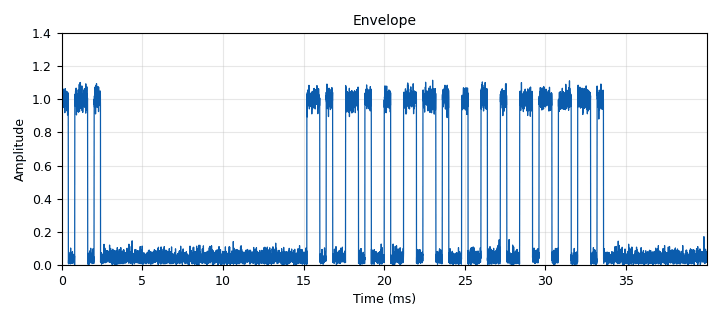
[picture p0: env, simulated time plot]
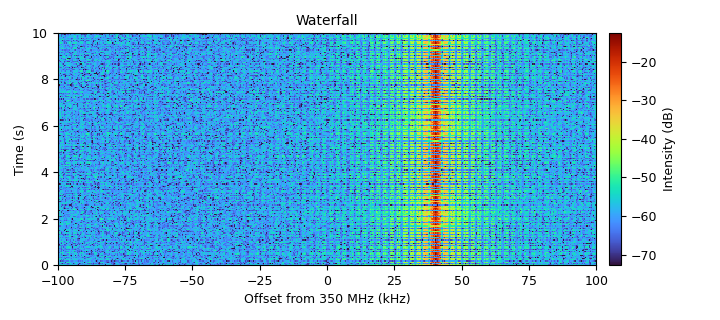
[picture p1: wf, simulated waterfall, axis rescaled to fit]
options:
  parameters:
    author: ECE 448
    description: 'L17: the encoder for the Simulated fan remote: a button chooser, 3-chip PWM, the gap, and a carrier 40 kHz above 350 MHz, with noise. Records my-fan-remote.sigmf-data and .sigmf-meta. No hardware; transmits nothing.'
    generate_options: qt_gui
    id: L17_fan_tx_sim
    output_language: python
    title: L17 - Fan Remote Encoder (Simulation)
  states: {}

blocks:
- name: addr
  id: variable
  parameters:
    value: '0xA6'
  states: {}
- name: bits
  id: variable
  parameters:
    value: '[(word >> (15 - i)) & 1 for i in range(16)]'
  states: {}
- name: button
  id: variable_qtgui_chooser
  parameters:
    gui_hint: 0,0,1,2
    label: Button
    label0: Light
    label1: Fan Off
    label2: Low
    label3: Medium
    label4: High
    num_opts: '5'
    option0: '1'
    option1: '2'
    option2: '3'
    option3: '4'
    option4: '5'
    orient: Qt.QHBoxLayout
    type: int
    value: '1'
    widget: radio_buttons
  states: {}
- name: chip_len
  id: variable
  parameters:
    value: '80'
  states: {}
- name: gap_chips
  id: variable
  parameters:
    value: '30'
  states: {}
- name: noise_amp
  id: variable_qtgui_range
  parameters:
    gui_hint: 1,0,1,2
    label: Noise amplitude
    min_len: '300'
    start: '0'
    step: '0.01'
    stop: '1'
    value: '0.05'
  states: {}
- name: samp_rate
  id: variable
  parameters:
    value: '200000'
  states: {}
- name: word
  id: variable
  parameters:
    value: addr << 8 | button << 4 | (button ^ 0xF)
  states: {}
- name: add
  id: blocks_add_xx
  parameters:
    type: complex
  states: {}
- name: c2f
  id: blocks_char_to_float
  parameters:
    scale: '1'
  states: {}
- name: carrier
  id: analog_sig_source_x
  parameters:
    amp: '1'
    freq: '40000'
    offset: '0'
    phase: '0'
    samp_rate: samp_rate
    type: complex
    waveform: analog.GR_COS_WAVE
  states: {}
- name: chip_map
  id: digital_map_bb
  parameters:
    map: '[4, 6]'
  states: {}
- name: env
  id: qtgui_time_sink_x
  parameters:
    grid: 'True'
    gui_hint: 2,1,1,1
    legend: 'False'
    name: '"Envelope"'
    size: '8000'
    srate: samp_rate
    tr_delay: '0.002'
    tr_level: '0.5'
    tr_mode: qtgui.TRIG_MODE_NORM
    type: float
    ymax: '1.4'
    ymin: '0'
  states: {}
- name: f2c
  id: blocks_float_to_complex
  parameters: {}
  states: {}
- name: mag
  id: blocks_complex_to_mag
  parameters: {}
  states: {}
- name: mult
  id: blocks_multiply_xx
  parameters:
    type: complex
  states: {}
- name: mux
  id: blocks_stream_mux
  parameters:
    lengths: '[48*chip_len, gap_chips*chip_len]'
    type: float
  states: {}
- name: noise
  id: analog_noise_source_x
  parameters:
    amp: noise_amp
    noise_type: analog.GR_GAUSSIAN
    seed: '0'
    type: complex
  states: {}
- name: rec
  id: blocks_sigmf_sink_minimal
  parameters:
    center_freq: 350e6
    description: Output of L17-fan-tx-sim.grc
    filename: my-fan-remote
    hw_info: Simulated in GNU Radio; no radio
    sample_rate: samp_rate
    type: complex float (fc32_le)
  states: {}
- name: rep
  id: blocks_repeat
  parameters:
    interp: chip_len
    type: float
  states: {}
- name: thr
  id: blocks_throttle2
  parameters:
    samples_per_second: samp_rate
    type: complex
  states: {}
- name: unpack
  id: blocks_unpack_k_bits_bb
  parameters:
    k: '3'
  states: {}
- name: vsrc
  id: blocks_vector_source_x
  parameters:
    repeat: 'True'
    type: byte
    vector: bits
  states: {}
- name: wf
  id: qtgui_waterfall_sink_x
  parameters:
    bw: samp_rate
    fc: 350e6
    fftsize: '1024'
    gui_hint: 2,0,1,1
    int_max: '-20'
    int_min: '-90'
    name: '"Waterfall"'
    type: complex
    update_time: '0.05'
  states: {}
- name: zero
  id: analog_const_source_x
  parameters:
    const: '0'
    type: float
  states: {}

connections:
- [add, '0', thr, '0']
- [c2f, '0', rep, '0']
- [carrier, '0', mult, '1']
- [chip_map, '0', unpack, '0']
- [f2c, '0', mult, '0']
- [mag, '0', env, '0']
- [mult, '0', add, '0']
- [mux, '0', f2c, '0']
- [noise, '0', add, '1']
- [rep, '0', mux, '0']
- [thr, '0', mag, '0']
- [thr, '0', rec, '0']
- [thr, '0', wf, '0']
- [unpack, '0', c2f, '0']
- [vsrc, '0', chip_map, '0']
- [zero, '0', mux, '1']

metadata:
  file_format: 1
  grc_version: 3.10.9.2
